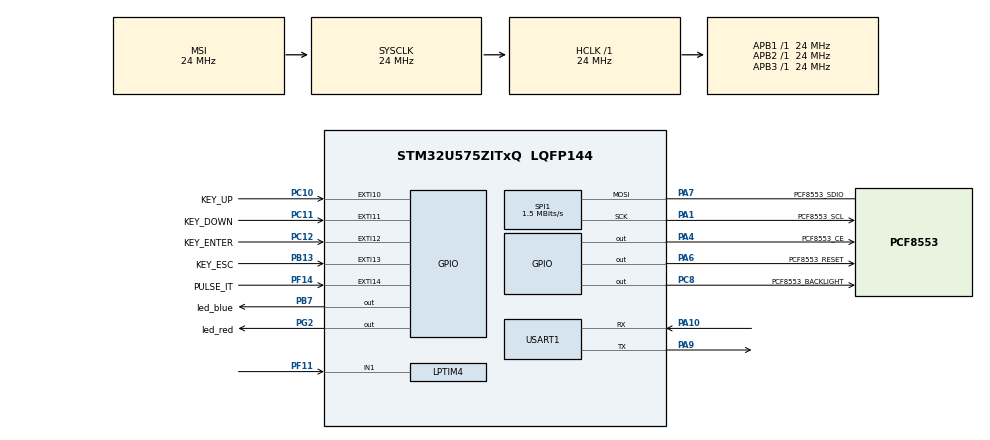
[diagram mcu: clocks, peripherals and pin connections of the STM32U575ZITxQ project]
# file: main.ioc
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ADC1.Channel-0\#ChannelRegularConversion=ADC_CHANNEL_TEMPSENSOR
ADC1.ClockPrescaler=ADC_CLOCK_ASYNC_DIV2
ADC1.EnableRegularConversion=ENABLE
ADC1.MonitoredBy-0\#ChannelRegularConversion=__NULL
ADC1.NbrOfConversion=1
ADC1.NbrOfConversionFlag=1
ADC1.OffsetNumber-0\#ChannelRegularConversion=ADC_OFFSET_NONE
ADC1.Rank-0\#ChannelRegularConversion=1
ADC1.Resolution=ADC_RESOLUTION_12B
ADC1.SamplingTime-0\#ChannelRegularConversion=ADC_SAMPLETIME_391CYCLES_5
ADC1.master=1
CORTEX_M33_NS.userName=CORTEX_M33
LPTIM1.ClockPrescaler=LPTIM_PRESCALER_DIV16
LPTIM4.RepetitionCounter=0
LPTIM4.ULPClockPolarity=LPTIM_CLOCKPOLARITY_RISING
LPTIM4.UpdateMode=LPTIM_UPDATE_IMMEDIATE
Mcu.Family=STM32U5
Mcu.Name=STM32U575ZITxQ
Mcu.Package=LQFP144
NVIC.EXTI10_IRQn=true\:5\:0\:true\:false\:true\:false\:true\:true\:true
NVIC.EXTI11_IRQn=true\:5\:0\:true\:false\:true\:false\:true\:true\:true
NVIC.EXTI12_IRQn=true\:5\:0\:true\:false\:true\:false\:true\:true\:true
NVIC.EXTI13_IRQn=true\:5\:0\:true\:false\:true\:false\:true\:true\:true
NVIC.EXTI14_IRQn=true\:5\:0\:true\:false\:true\:false\:true\:true\:true
NVIC.LPTIM1_IRQn=true\:0\:0\:false\:false\:true\:false\:true\:true\:true
NVIC.PriorityGroup=NVIC_PRIORITYGROUP_4
NVIC.RTC_IRQn=true\:0\:0\:false\:false\:true\:false\:true\:true\:true
NVIC.TIM6_IRQn=true\:15\:0\:false\:false\:true\:false\:false\:true\:true
NVIC.TimeBase=TIM6_IRQn
NVIC.TimeBaseIP=TIM6
PA1.GPIO_Label=PCF8553_SCL
PA1.Mode=Simplex_Bidirectional_Master
PA1.Signal=SPI1_SCK
PA10.Mode=Asynchronous
PA10.Signal=USART1_RX
PA4.GPIO_Label=PCF8553_CE
PA4.GPIO_ModeDefaultOutputPP=GPIO_MODE_OUTPUT_PP
PA4.GPIO_PuPd=GPIO_NOPULL
PA4.Signal=GPIO_Output
PA6.GPIO_Label=PCF8553_RESET
PA6.GPIO_ModeDefaultOutputPP=GPIO_MODE_OUTPUT_PP
PA6.GPIO_PuPd=GPIO_NOPULL
PA6.Signal=GPIO_Output
PA7.GPIO_Label=PCF8553_SDIO
PA7.Mode=Simplex_Bidirectional_Master
PA7.Signal=SPI1_MOSI
PA9.Mode=Asynchronous
PA9.Signal=USART1_TX
PB13.GPIO_Label=KEY_ESC
PB13.Signal=GPXTI13
PB7.GPIO_Label=led_blue
PB7.GPIO_ModeDefaultOutputPP=GPIO_MODE_OUTPUT_PP
PB7.GPIO_PuPd=GPIO_NOPULL
PB7.Signal=GPIO_Output
PC10.GPIO_Label=KEY_UP
PC10.Signal=GPXTI10
PC11.GPIO_Label=KEY_DOWN
PC11.Signal=GPXTI11
PC12.GPIO_Label=KEY_ENTER
PC12.Signal=GPXTI12
PC14-OSC32_IN\ (PC14).Mode=LSE-External-Oscillator
PC14-OSC32_IN\ (PC14).Signal=RCC_OSC32_IN
PC15-OSC32_OUT\ (PC15).Mode=LSE-External-Oscillator
PC15-OSC32_OUT\ (PC15).Signal=RCC_OSC32_OUT
PC8.GPIO_Label=PCF8553_BACKLIGHT
PC8.GPIO_ModeDefaultOutputPP=GPIO_MODE_OUTPUT_PP
PC8.GPIO_PuPd=GPIO_NOPULL
PC8.Signal=GPIO_Output
PF11.GPIO_Mode=GPIO_MODE_AF_PP
PF11.GPIO_PuPd=GPIO_NOPULL
PF11.Mode=Counts_external_clock_with_synchro_01_occur1
PF11.Signal=LPTIM4_IN1
PF14.GPIO_Label=PULSE_IT
PF14.Signal=GPXTI14
PG2.GPIO_Label=led_red
PG2.GPIO_ModeDefaultOutputPP=GPIO_MODE_OUTPUT_PP
PG2.GPIO_PuPd=GPIO_NOPULL
PG2.Signal=GPIO_Output
PWR.DMA2DPowerDownInStopMode=PWR_DMA2DRAM_FULL_STOP_RETENTION
PWR.Dcache1PowerDownInStopMode=PWR_DCACHE1_FULL_STOP_RETENTION
PWR.IcachePowerDownInStopMode=__NULL
PWR.PKA32RAMPowerDownInStopMode=PWR_PKA32RAM_FULL_STOP_RETENTION
PWR.PeriphPowerDownInStopMode=PWR_PERIPHRAM_FULL_STOP_RETENTION
PWR.PowerMode=PWR_SMPS_SUPPLY
PWR.RAM1Page1PowerDownInStopMode=__NULL
PWR.RAM1Page2PowerDownInStopMode=__NULL
PWR.RAM1Page3PowerDownInStopMode=__NULL
PWR.RAM2Page1PowerDownInStopMode=__NULL
PWR.RAM2Page2PowerDownInStopMode=__NULL
PWR.RAM3Page1PowerDownInStopMode=__NULL
PWR.RAM3Page2PowerDownInStopMode=__NULL
PWR.RAM3Page3PowerDownInStopMode=__NULL
PWR.RAM3Page4PowerDownInStopMode=__NULL
PWR.RAM3Page5PowerDownInStopMode=__NULL
PWR.RAM3Page6PowerDownInStopMode=__NULL
PWR.RAM3Page7PowerDownInStopMode=__NULL
PWR.RAM3Page8PowerDownInStopMode=__NULL
PWR.SRAM4FastDownInRunMode=PWR_SRAM4_FULL_RUN_RETENTION
PWR.SRAM4PowerDownInStopMode=PWR_SRAM4_FULL_STOP_RETENTION
ProjectManager.HeapSize=0x200
ProjectManager.StackSize=0x400
ProjectManager.TargetToolchain=STM32CubeIDE
RCC.ADCCLockSelection=RCC_ADCDACCLKSOURCE_SYSCLK
RCC.ADCFreq_Value=24000000
RCC.AHBFreq_Value=24000000
RCC.APB1Freq_Value=24000000
RCC.APB1TimFreq_Value=24000000
RCC.APB2Freq_Value=24000000
RCC.APB2TimFreq_Value=24000000
RCC.APB3Freq_Value=24000000
RCC.CortexFreq_Value=24000000
RCC.EPOD_VALUE=24000000
RCC.HCLKFreq_Value=24000000
RCC.HSE_VALUE=16000000
RCC.HSI48_VALUE=48000000
RCC.HSI_VALUE=16000000
RCC.LPTIM1CLockSelectionVirtual=RCC_LPTIM1CLKSOURCE_LSE
RCC.LPTIM3CLockSelectionVirtual=RCC_LPTIM34CLKSOURCE_LSE
RCC.LSIDIV_VALUE=32000
RCC.MSIClockRange=RCC_MSIRANGE_1
RCC.MSI_VALUE=24000000
RCC.RTCClockSelection=RCC_RTCCLKSOURCE_LSE
RCC.SYSCLKFreq_VALUE=24000000
RCC.USART1CLockSelectionVirtual=RCC_USART1CLKSOURCE_SYSCLK
RCC.USART2CLockSelectionVirtual=RCC_USART2CLKSOURCE_SYSCLK
RCC.USBFreq_Value=48000000
RCC.VCOOutputFreq_Value=3096000000
RTC.Date=10
RTC.Format=RTC_FORMAT_BIN
RTC.Hours=17
RTC.Month=RTC_MONTH_MAY
RTC.WakeUpCounter-WakeUp=4096
RTC.WeekDay=RTC_WEEKDAY_WEDNESDAY
RTC.Year=23
SPI1.BaudRatePrescaler=SPI_BAUDRATEPRESCALER_16
SPI1.CalculateBaudRate=1.5 MBits/s
SPI1.DataSize=SPI_DATASIZE_8BIT
SPI1.Direction=SPI_DIRECTION_1LINE
SPI1.Mode=SPI_MODE_MASTER
SPI1.NSSPMode=SPI_NSS_PULSE_DISABLE
SPI1.VirtualType=VM_MASTER
THREADX.TX_ENABLE_EVENT_TRACE=1
THREADX.TX_LOW_POWER=1
THREADX.TX_LOW_POWER_TICKLESS=0
THREADX.TX_LOW_POWER_TIMER_SETUP=app_threadx_lowpower_timer_setup
THREADX.TX_LOW_POWER_USER_ENTER=app_threadx_lowpower_enter
THREADX.TX_LOW_POWER_USER_EXIT=app_threadx_lowpower_exit
THREADX.TX_LOW_POWER_USER_TIMER_ADJUST=app_threadx_lowpower_timer_adjust
USART1.VirtualMode-Asynchronous=VM_ASYNC
VP_ADC1_TempSens_Input.Mode=IN-TempSens
VP_ADC1_Vref_Input.Mode=IN-Vrefint
VP_ICACHE_VS_ICACHE.Mode=DirectMappedCache
VP_LPTIM1_VS_LPTIM_counterModeInternalClock.Mode=Counts__internal_clock_event_00
VP_LPTIM3_VS_LPTIM_counterModeInternalClock.Mode=Counts__internal_clock_event_00
VP_PWR_VS_DBSignals.Mode=DisableDeadBatterySignals
VP_PWR_VS_LPOM.Mode=PowerOptimisation
VP_RTC_VS_RTC_Activate.Mode=RTC_Enabled
VP_RTC_VS_RTC_Calendar.Mode=RTC_Calendar
VP_RTC_VS_RTC_WakeUp_intern.Mode=WakeUp
VP_SYS_VS_tim6.Mode=TIM6
VP_THREADX_VS_RTOSJjThreadXJjCoreJjDefault.Mode=Core_Default
VP_THREADX_VS_RTOSJjThreadXJjLow_Power_Support.Mode=Low_Power_Support
VP_THREADX_VS_RTOSJjThreadXJjTraceX_SupportJjDefault.Mode=TraceX_Support_Default
board=custom

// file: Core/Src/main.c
/* USER CODE BEGIN Header */
/**
 ******************************************************************************
 * @file           : main.c
 * @brief          : Main program body
 ******************************************************************************
 * @attention
 *
 * Copyright (c) 2023 STMicroelectronics.
 * All rights reserved.
 *
 * This software is licensed under terms that can be found in the LICENSE file
 * in the root directory of this software component.
 * If no LICENSE file comes with this software, it is provided AS-IS.
 *
 ******************************************************************************
 */
/* USER CODE END Header */
#include "app_threadx.h"
#include "main.h"

/* USER CODE BEGIN Includes */
#include "../../../libs/fm_lcd/fm_lcd.h"
/* USER CODE END Includes */

ADC_HandleTypeDef hadc1;

LPTIM_HandleTypeDef hlptim1;
LPTIM_HandleTypeDef hlptim3;
LPTIM_HandleTypeDef hlptim4;

RTC_HandleTypeDef hrtc;

SPI_HandleTypeDef hspi1;

UART_HandleTypeDef huart1;

void SystemClock_Config(void);
static void SystemPower_Config(void);
static void MX_GPIO_Init(void);
static void MX_ADC1_Init(void);
static void MX_ICACHE_Init(void);
static void MX_LPTIM1_Init(void);
static void MX_RTC_Init(void);
static void MX_SPI1_Init(void);
static void MX_USART1_UART_Init(void);
static void MX_LPTIM4_Init(void);
static void MX_LPTIM3_Init(void);

int main(void)
{

  /* MCU Configuration--------------------------------------------------------*/

  /* Reset of all peripherals, Initializes the Flash interface and the Systick. */
  HAL_Init();

  /* Configure the system clock */
  SystemClock_Config();

  /* Configure the System Power */
  SystemPower_Config();

  /* Initialize all configured peripherals */
  MX_GPIO_Init();
  MX_ADC1_Init();
  MX_ICACHE_Init();
  MX_LPTIM1_Init();
  MX_RTC_Init();
  MX_SPI1_Init();
  MX_USART1_UART_Init();
  MX_LPTIM4_Init();
  MX_LPTIM3_Init();
  /* USER CODE BEGIN 2 */

    fm_lcd_clear();
    HAL_ADCEx_Calibration_Start(&hadc1, ADC_CALIB_OFFSET, ADC_SINGLE_ENDED);
    __HAL_RCC_RTCAPB_CLKAM_ENABLE();
    HAL_LPTIM_Counter_Start(&hlptim1);

  /* USER CODE END 2 */

  MX_ThreadX_Init();

  /* We should never get here as control is now taken by the scheduler */
  /* Infinite loop */
    while (1)
    {

    }
}

void SystemClock_Config(void)
{
  RCC_OscInitTypeDef RCC_OscInitStruct = {0};
  RCC_ClkInitTypeDef RCC_ClkInitStruct = {0};

  /** Configure the main internal regulator output voltage
  */
  if (HAL_PWREx_ControlVoltageScaling(PWR_REGULATOR_VOLTAGE_SCALE4) != HAL_OK)
  {
    Error_Handler();
  }

  /** Configure LSE Drive Capability
  */
  HAL_PWR_EnableBkUpAccess();
  __HAL_RCC_LSEDRIVE_CONFIG(RCC_LSEDRIVE_LOW);

  /** Initializes the CPU, AHB and APB buses clocks
  */
  RCC_OscInitStruct.OscillatorType = RCC_OSCILLATORTYPE_LSE|RCC_OSCILLATORTYPE_MSI;
  RCC_OscInitStruct.LSEState = RCC_LSE_ON;
  RCC_OscInitStruct.MSIState = RCC_MSI_ON;
  RCC_OscInitStruct.MSICalibrationValue = RCC_MSICALIBRATION_DEFAULT;
  RCC_OscInitStruct.MSIClockRange = RCC_MSIRANGE_1;
  RCC_OscInitStruct.PLL.PLLState = RCC_PLL_NONE;
  if (HAL_RCC_OscConfig(&RCC_OscInitStruct) != HAL_OK)
  {
    Error_Handler();
  }

  /** Initializes the CPU, AHB and APB buses clocks
  */
  RCC_ClkInitStruct.ClockType = RCC_CLOCKTYPE_HCLK|RCC_CLOCKTYPE_SYSCLK
                              |RCC_CLOCKTYPE_PCLK1|RCC_CLOCKTYPE_PCLK2
                              |RCC_CLOCKTYPE_PCLK3;
  RCC_ClkInitStruct.SYSCLKSource = RCC_SYSCLKSOURCE_MSI;
  RCC_ClkInitStruct.AHBCLKDivider = RCC_SYSCLK_DIV1;
  RCC_ClkInitStruct.APB1CLKDivider = RCC_HCLK_DIV1;
  RCC_ClkInitStruct.APB2CLKDivider = RCC_HCLK_DIV1;
  RCC_ClkInitStruct.APB3CLKDivider = RCC_HCLK_DIV1;

  if (HAL_RCC_ClockConfig(&RCC_ClkInitStruct, FLASH_LATENCY_1) != HAL_OK)
  {
    Error_Handler();
  }
}

/**
  * @brief Power Configuration
  * @retval None
  */
static void SystemPower_Config(void)
{
  HAL_PWREx_EnableVddIO2();

  /*
   * Disable the internal Pull-Up in Dead Battery pins of UCPD peripheral
   */
  HAL_PWREx_DisableUCPDDeadBattery();

  /*
   * SRAM Power Down In Stop Mode Config
   */
  HAL_PWREx_DisableRAMsContentStopRetention(PWR_SRAM4_FULL_STOP_RETENTION);
  HAL_PWREx_DisableRAMsContentStopRetention(PWR_DCACHE1_FULL_STOP_RETENTION);
  HAL_PWREx_DisableRAMsContentStopRetention(PWR_DMA2DRAM_FULL_STOP_RETENTION);
  HAL_PWREx_DisableRAMsContentStopRetention(PWR_PKA32RAM_FULL_STOP_RETENTION);
  HAL_PWREx_DisableRAMsContentStopRetention(PWR_PERIPHRAM_FULL_STOP_RETENTION);

  /*
   * Switch to SMPS regulator instead of LDO
   */
  if (HAL_PWREx_ConfigSupply(PWR_SMPS_SUPPLY) != HAL_OK)
  {
    Error_Handler();
  }

  /*
   * SRAM4 Fast In Run Mode Config
   */
  HAL_PWREx_EnableSRAM4FastWakeUp();
}

static void MX_ADC1_Init(void)
{

  ADC_ChannelConfTypeDef sConfig = {0};

  /** Common config
  */
  hadc1.Instance = ADC1;
  hadc1.Init.ClockPrescaler = ADC_CLOCK_ASYNC_DIV2;
  hadc1.Init.Resolution = ADC_RESOLUTION_12B;
  hadc1.Init.GainCompensation = 0;
  hadc1.Init.ScanConvMode = ADC_SCAN_DISABLE;
  hadc1.Init.EOCSelection = ADC_EOC_SINGLE_CONV;
  hadc1.Init.LowPowerAutoWait = DISABLE;
  hadc1.Init.ContinuousConvMode = DISABLE;
  hadc1.Init.NbrOfConversion = 1;
  hadc1.Init.DiscontinuousConvMode = DISABLE;
  hadc1.Init.ExternalTrigConv = ADC_SOFTWARE_START;
  hadc1.Init.ExternalTrigConvEdge = ADC_EXTERNALTRIGCONVEDGE_NONE;
  hadc1.Init.DMAContinuousRequests = DISABLE;
  hadc1.Init.TriggerFrequencyMode = ADC_TRIGGER_FREQ_HIGH;
  hadc1.Init.Overrun = ADC_OVR_DATA_PRESERVED;
  hadc1.Init.LeftBitShift = ADC_LEFTBITSHIFT_NONE;
  hadc1.Init.ConversionDataManagement = ADC_CONVERSIONDATA_DR;
  hadc1.Init.OversamplingMode = DISABLE;
  if (HAL_ADC_Init(&hadc1) != HAL_OK)
  {
    Error_Handler();
  }

  /** Configure Regular Channel
  */
  sConfig.Channel = ADC_CHANNEL_TEMPSENSOR;
  sConfig.Rank = ADC_REGULAR_RANK_1;
  sConfig.SamplingTime = ADC_SAMPLETIME_391CYCLES_5;
  sConfig.SingleDiff = ADC_SINGLE_ENDED;
  sConfig.OffsetNumber = ADC_OFFSET_NONE;
  sConfig.Offset = 0;
  if (HAL_ADC_ConfigChannel(&hadc1, &sConfig) != HAL_OK)
  {
    Error_Handler();
  }

}

static void MX_ICACHE_Init(void)
{

  /** Enable instruction cache in 1-way (direct mapped cache)
  */
  if (HAL_ICACHE_ConfigAssociativityMode(ICACHE_1WAY) != HAL_OK)
  {
    Error_Handler();
  }
  if (HAL_ICACHE_Enable() != HAL_OK)
  {
    Error_Handler();
  }

}

static void MX_LPTIM1_Init(void)
{

  hlptim1.Instance = LPTIM1;
  hlptim1.Init.Clock.Source = LPTIM_CLOCKSOURCE_APBCLOCK_LPOSC;
  hlptim1.Init.Clock.Prescaler = LPTIM_PRESCALER_DIV16;
  hlptim1.Init.Trigger.Source = LPTIM_TRIGSOURCE_SOFTWARE;
  hlptim1.Init.Period = 65535;
  hlptim1.Init.UpdateMode = LPTIM_UPDATE_IMMEDIATE;
  hlptim1.Init.CounterSource = LPTIM_COUNTERSOURCE_INTERNAL;
  hlptim1.Init.Input1Source = LPTIM_INPUT1SOURCE_GPIO;
  hlptim1.Init.Input2Source = LPTIM_INPUT2SOURCE_GPIO;
  hlptim1.Init.RepetitionCounter = 0;
  if (HAL_LPTIM_Init(&hlptim1) != HAL_OK)
  {
    Error_Handler();
  }
  /* USER CODE BEGIN LPTIM1_Init 2 */

    /*
     * To run in stop mode the LPBAM low-power backgroung autonomous mode must be
     * configured
     *
     */
    __HAL_RCC_LPTIM1_CLKAM_ENABLE();
    __HAL_RCC_LPDMA1_CLKAM_ENABLE();
    __HAL_RCC_SRAM4_CLKAM_ENABLE();

  /* USER CODE END LPTIM1_Init 2 */

}

static void MX_LPTIM3_Init(void)
{

  hlptim3.Instance = LPTIM3;
  hlptim3.Init.Clock.Source = LPTIM_CLOCKSOURCE_APBCLOCK_LPOSC;
  hlptim3.Init.Clock.Prescaler = LPTIM_PRESCALER_DIV1;
  hlptim3.Init.Trigger.Source = LPTIM_TRIGSOURCE_SOFTWARE;
  hlptim3.Init.Period = 65535;
  hlptim3.Init.UpdateMode = LPTIM_UPDATE_IMMEDIATE;
  hlptim3.Init.CounterSource = LPTIM_COUNTERSOURCE_INTERNAL;
  hlptim3.Init.Input1Source = LPTIM_INPUT1SOURCE_GPIO;
  hlptim3.Init.Input2Source = LPTIM_INPUT2SOURCE_GPIO;
  hlptim3.Init.RepetitionCounter = 0;
  if (HAL_LPTIM_Init(&hlptim3) != HAL_OK)
  {
    Error_Handler();
  }
  /* USER CODE BEGIN LPTIM3_Init 2 */
  __HAL_RCC_LPTIM3_CLKAM_ENABLE();
  /* USER CODE END LPTIM3_Init 2 */

}

static void MX_LPTIM4_Init(void)
{

  hlptim4.Instance = LPTIM4;
  hlptim4.Init.Clock.Source = LPTIM_CLOCKSOURCE_APBCLOCK_LPOSC;
  hlptim4.Init.Clock.Prescaler = LPTIM_PRESCALER_DIV1;
  hlptim4.Init.UltraLowPowerClock.Polarity = LPTIM_CLOCKPOLARITY_RISING;
  hlptim4.Init.UltraLowPowerClock.SampleTime = LPTIM_CLOCKSAMPLETIME_DIRECTTRANSITION;
  hlptim4.Init.Trigger.Source = LPTIM_TRIGSOURCE_SOFTWARE;
  hlptim4.Init.Period = 65535;
  hlptim4.Init.UpdateMode = LPTIM_UPDATE_IMMEDIATE;
  hlptim4.Init.CounterSource = LPTIM_COUNTERSOURCE_EXTERNAL;
  hlptim4.Init.Input1Source = LPTIM_INPUT1SOURCE_GPIO;
  hlptim4.Init.Input2Source = LPTIM_INPUT2SOURCE_GPIO;
  hlptim4.Init.RepetitionCounter = 0;
  if (HAL_LPTIM_Init(&hlptim4) != HAL_OK)
  {
    Error_Handler();
  }
  /* USER CODE BEGIN LPTIM4_Init 2 */
  /*
   * To run in stop mode the LPBAM low-power backgroung autonomous mode must be
   * configured
   *
   */
  __HAL_RCC_LPTIM4_CLKAM_ENABLE();
  /* USER CODE END LPTIM4_Init 2 */

}

static void MX_RTC_Init(void)
{

  RTC_PrivilegeStateTypeDef privilegeState = {0};
  RTC_TimeTypeDef sTime = {0};
  RTC_DateTypeDef sDate = {0};

  /** Initialize RTC Only
  */
  hrtc.Instance = RTC;
  hrtc.Init.HourFormat = RTC_HOURFORMAT_24;
  hrtc.Init.AsynchPrediv = 127;
  hrtc.Init.SynchPrediv = 255;
  hrtc.Init.OutPut = RTC_OUTPUT_DISABLE;
  hrtc.Init.OutPutRemap = RTC_OUTPUT_REMAP_NONE;
  hrtc.Init.OutPutPolarity = RTC_OUTPUT_POLARITY_HIGH;
  hrtc.Init.OutPutType = RTC_OUTPUT_TYPE_OPENDRAIN;
  hrtc.Init.OutPutPullUp = RTC_OUTPUT_PULLUP_NONE;
  hrtc.Init.BinMode = RTC_BINARY_NONE;
  if (HAL_RTC_Init(&hrtc) != HAL_OK)
  {
    Error_Handler();
  }
  privilegeState.rtcPrivilegeFull = RTC_PRIVILEGE_FULL_NO;
  privilegeState.backupRegisterPrivZone = RTC_PRIVILEGE_BKUP_ZONE_NONE;
  privilegeState.backupRegisterStartZone2 = RTC_BKP_DR0;
  privilegeState.backupRegisterStartZone3 = RTC_BKP_DR0;
  if (HAL_RTCEx_PrivilegeModeSet(&hrtc, &privilegeState) != HAL_OK)
  {
    Error_Handler();
  }

  /** Initialize RTC and set the Time and Date
  */
  sTime.Hours = 17;
  sTime.Minutes = 0;
  sTime.Seconds = 0;
  sTime.DayLightSaving = RTC_DAYLIGHTSAVING_NONE;
  sTime.StoreOperation = RTC_STOREOPERATION_RESET;
  if (HAL_RTC_SetTime(&hrtc, &sTime, RTC_FORMAT_BIN) != HAL_OK)
  {
    Error_Handler();
  }
  sDate.WeekDay = RTC_WEEKDAY_WEDNESDAY;
  sDate.Month = RTC_MONTH_MAY;
  sDate.Date = 10;
  sDate.Year = 23;

  if (HAL_RTC_SetDate(&hrtc, &sDate, RTC_FORMAT_BIN) != HAL_OK)
  {
    Error_Handler();
  }

  /** Enable the WakeUp
  */
  if (HAL_RTCEx_SetWakeUpTimer_IT(&hrtc, 4096, RTC_WAKEUPCLOCK_RTCCLK_DIV16, 0) != HAL_OK)
  {
    Error_Handler();
  }

}

static void MX_SPI1_Init(void)
{

  SPI_AutonomousModeConfTypeDef HAL_SPI_AutonomousMode_Cfg_Struct = {0};

  /* SPI1 parameter configuration*/
  hspi1.Instance = SPI1;
  hspi1.Init.Mode = SPI_MODE_MASTER;
  hspi1.Init.Direction = SPI_DIRECTION_1LINE;
  hspi1.Init.DataSize = SPI_DATASIZE_8BIT;
  hspi1.Init.CLKPolarity = SPI_POLARITY_LOW;
  hspi1.Init.CLKPhase = SPI_PHASE_1EDGE;
  hspi1.Init.NSS = SPI_NSS_SOFT;
  hspi1.Init.BaudRatePrescaler = SPI_BAUDRATEPRESCALER_16;
  hspi1.Init.FirstBit = SPI_FIRSTBIT_MSB;
  hspi1.Init.TIMode = SPI_TIMODE_DISABLE;
  hspi1.Init.CRCCalculation = SPI_CRCCALCULATION_DISABLE;
  hspi1.Init.CRCPolynomial = 0x7;
  hspi1.Init.NSSPMode = SPI_NSS_PULSE_DISABLE;
  hspi1.Init.NSSPolarity = SPI_NSS_POLARITY_LOW;
  hspi1.Init.FifoThreshold = SPI_FIFO_THRESHOLD_01DATA;
  hspi1.Init.MasterSSIdleness = SPI_MASTER_SS_IDLENESS_00CYCLE;
  hspi1.Init.MasterInterDataIdleness = SPI_MASTER_INTERDATA_IDLENESS_00CYCLE;
  hspi1.Init.MasterReceiverAutoSusp = SPI_MASTER_RX_AUTOSUSP_DISABLE;
  hspi1.Init.MasterKeepIOState = SPI_MASTER_KEEP_IO_STATE_DISABLE;
  hspi1.Init.IOSwap = SPI_IO_SWAP_DISABLE;
  hspi1.Init.ReadyMasterManagement = SPI_RDY_MASTER_MANAGEMENT_INTERNALLY;
  hspi1.Init.ReadyPolarity = SPI_RDY_POLARITY_HIGH;
  if (HAL_SPI_Init(&hspi1) != HAL_OK)
  {
    Error_Handler();
  }
  HAL_SPI_AutonomousMode_Cfg_Struct.TriggerState = SPI_AUTO_MODE_DISABLE;
  HAL_SPI_AutonomousMode_Cfg_Struct.TriggerSelection = SPI_GRP1_GPDMA_CH0_TCF_TRG;
  HAL_SPI_AutonomousMode_Cfg_Struct.TriggerPolarity = SPI_TRIG_POLARITY_RISING;
  if (HAL_SPIEx_SetConfigAutonomousMode(&hspi1, &HAL_SPI_AutonomousMode_Cfg_Struct) != HAL_OK)
  {
    Error_Handler();
  }

}

static void MX_USART1_UART_Init(void)
{

  huart1.Instance = USART1;
  huart1.Init.BaudRate = 115200;
  huart1.Init.WordLength = UART_WORDLENGTH_8B;
  huart1.Init.StopBits = UART_STOPBITS_1;
  huart1.Init.Parity = UART_PARITY_NONE;
  huart1.Init.Mode = UART_MODE_TX_RX;
  huart1.Init.HwFlowCtl = UART_HWCONTROL_NONE;
  huart1.Init.OverSampling = UART_OVERSAMPLING_16;
  huart1.Init.OneBitSampling = UART_ONE_BIT_SAMPLE_DISABLE;
  huart1.Init.ClockPrescaler = UART_PRESCALER_DIV1;
  huart1.AdvancedInit.AdvFeatureInit = UART_ADVFEATURE_NO_INIT;
  if (HAL_UART_Init(&huart1) != HAL_OK)
  {
    Error_Handler();
  }
  if (HAL_UARTEx_SetTxFifoThreshold(&huart1, UART_TXFIFO_THRESHOLD_1_8) != HAL_OK)
  {
    Error_Handler();
  }
  if (HAL_UARTEx_SetRxFifoThreshold(&huart1, UART_RXFIFO_THRESHOLD_1_8) != HAL_OK)
  {
    Error_Handler();
  }
  if (HAL_UARTEx_DisableFifoMode(&huart1) != HAL_OK)
  {
    Error_Handler();
  }

}

static void MX_GPIO_Init(void)
{
  GPIO_InitTypeDef GPIO_InitStruct = {0};

  /* GPIO Ports Clock Enable */
  __HAL_RCC_GPIOC_CLK_ENABLE();
  __HAL_RCC_GPIOA_CLK_ENABLE();
  __HAL_RCC_GPIOF_CLK_ENABLE();
  __HAL_RCC_GPIOB_CLK_ENABLE();
  __HAL_RCC_GPIOG_CLK_ENABLE();

  /*Configure GPIO pin Output Level */
  HAL_GPIO_WritePin(GPIOA, PCF8553_CE_Pin|PCF8553_RESET_Pin, GPIO_PIN_RESET);

  /*Configure GPIO pin Output Level */
  HAL_GPIO_WritePin(led_red_GPIO_Port, led_red_Pin, GPIO_PIN_RESET);

  /*Configure GPIO pin Output Level */
  HAL_GPIO_WritePin(PCF8553_BACKLIGHT_GPIO_Port, PCF8553_BACKLIGHT_Pin, GPIO_PIN_RESET);

  /*Configure GPIO pin Output Level */
  HAL_GPIO_WritePin(led_blue_GPIO_Port, led_blue_Pin, GPIO_PIN_RESET);

  /*Configure GPIO pins : PCF8553_CE_Pin PCF8553_RESET_Pin */
  GPIO_InitStruct.Pin = PCF8553_CE_Pin|PCF8553_RESET_Pin;
  GPIO_InitStruct.Mode = GPIO_MODE_OUTPUT_PP;
  GPIO_InitStruct.Pull = GPIO_NOPULL;
  GPIO_InitStruct.Speed = GPIO_SPEED_FREQ_LOW;
  HAL_GPIO_Init(GPIOA, &GPIO_InitStruct);

  /*Configure GPIO pin : PULSE_IT_Pin */
  GPIO_InitStruct.Pin = PULSE_IT_Pin;
  GPIO_InitStruct.Mode = GPIO_MODE_IT_RISING;
  GPIO_InitStruct.Pull = GPIO_NOPULL;
  HAL_GPIO_Init(PULSE_IT_GPIO_Port, &GPIO_InitStruct);

  /*Configure GPIO pin : KEY_ESC_Pin */
  GPIO_InitStruct.Pin = KEY_ESC_Pin;
  GPIO_InitStruct.Mode = GPIO_MODE_IT_RISING;
  GPIO_InitStruct.Pull = GPIO_NOPULL;
  HAL_GPIO_Init(KEY_ESC_GPIO_Port, &GPIO_InitStruct);

  /*Configure GPIO pin : led_red_Pin */
  GPIO_InitStruct.Pin = led_red_Pin;
  GPIO_InitStruct.Mode = GPIO_MODE_OUTPUT_PP;
  GPIO_InitStruct.Pull = GPIO_NOPULL;
  GPIO_InitStruct.Speed = GPIO_SPEED_FREQ_LOW;
  HAL_GPIO_Init(led_red_GPIO_Port, &GPIO_InitStruct);

  /*Configure GPIO pin : PCF8553_BACKLIGHT_Pin */
  GPIO_InitStruct.Pin = PCF8553_BACKLIGHT_Pin;
  GPIO_InitStruct.Mode = GPIO_MODE_OUTPUT_PP;
  GPIO_InitStruct.Pull = GPIO_NOPULL;
  GPIO_InitStruct.Speed = GPIO_SPEED_FREQ_LOW;
  HAL_GPIO_Init(PCF8553_BACKLIGHT_GPIO_Port, &GPIO_InitStruct);

  /*Configure GPIO pins : KEY_UP_Pin KEY_DOWN_Pin KEY_ENTER_Pin */
  GPIO_InitStruct.Pin = KEY_UP_Pin|KEY_DOWN_Pin|KEY_ENTER_Pin;
  GPIO_InitStruct.Mode = GPIO_MODE_IT_RISING;
  GPIO_InitStruct.Pull = GPIO_NOPULL;
  HAL_GPIO_Init(GPIOC, &GPIO_InitStruct);

  /*Configure GPIO pin : led_blue_Pin */
  GPIO_InitStruct.Pin = led_blue_Pin;
  GPIO_InitStruct.Mode = GPIO_MODE_OUTPUT_PP;
  GPIO_InitStruct.Pull = GPIO_NOPULL;
  GPIO_InitStruct.Speed = GPIO_SPEED_FREQ_LOW;
  HAL_GPIO_Init(led_blue_GPIO_Port, &GPIO_InitStruct);

  /* EXTI interrupt init*/
  HAL_NVIC_SetPriority(EXTI10_IRQn, 5, 0);
  HAL_NVIC_EnableIRQ(EXTI10_IRQn);

  HAL_NVIC_SetPriority(EXTI11_IRQn, 5, 0);
  HAL_NVIC_EnableIRQ(EXTI11_IRQn);

  HAL_NVIC_SetPriority(EXTI12_IRQn, 5, 0);
  HAL_NVIC_EnableIRQ(EXTI12_IRQn);

  HAL_NVIC_SetPriority(EXTI13_IRQn, 5, 0);
  HAL_NVIC_EnableIRQ(EXTI13_IRQn);

  HAL_NVIC_SetPriority(EXTI14_IRQn, 5, 0);
  HAL_NVIC_EnableIRQ(EXTI14_IRQn);

}

/* USER CODE BEGIN 4 */

__weak void HAL_RTCEx_WakeUpTimerEventCallback(RTC_HandleTypeDef *hrtc)
{
    /* Prevent unused argument(s) compilation warning */
    UNUSED(hrtc);
    HAL_RTCEx_DeactivateWakeUpTimer(hrtc);

    /* NOTE : This function should not be modified, when the callback is needed,
     the HAL_RTCEx_WakeUpTimerEventCallback could be implemented in the user file
     */
}

/* USER CODE END 4 */

void HAL_TIM_PeriodElapsedCallback(TIM_HandleTypeDef *htim)
{
  if (htim->Instance == TIM6) {
    HAL_IncTick();
  }
}

void Error_Handler(void)
{
  /* USER CODE BEGIN Error_Handler_Debug */
    /* User can add his own implementation to report the HAL error return state */
    __disable_irq();
    while (1)
    {
        HAL_GPIO_TogglePin(led_red_GPIO_Port, led_red_Pin);
        HAL_Delay(300);
    }
  /* USER CODE END Error_Handler_Debug */
}
